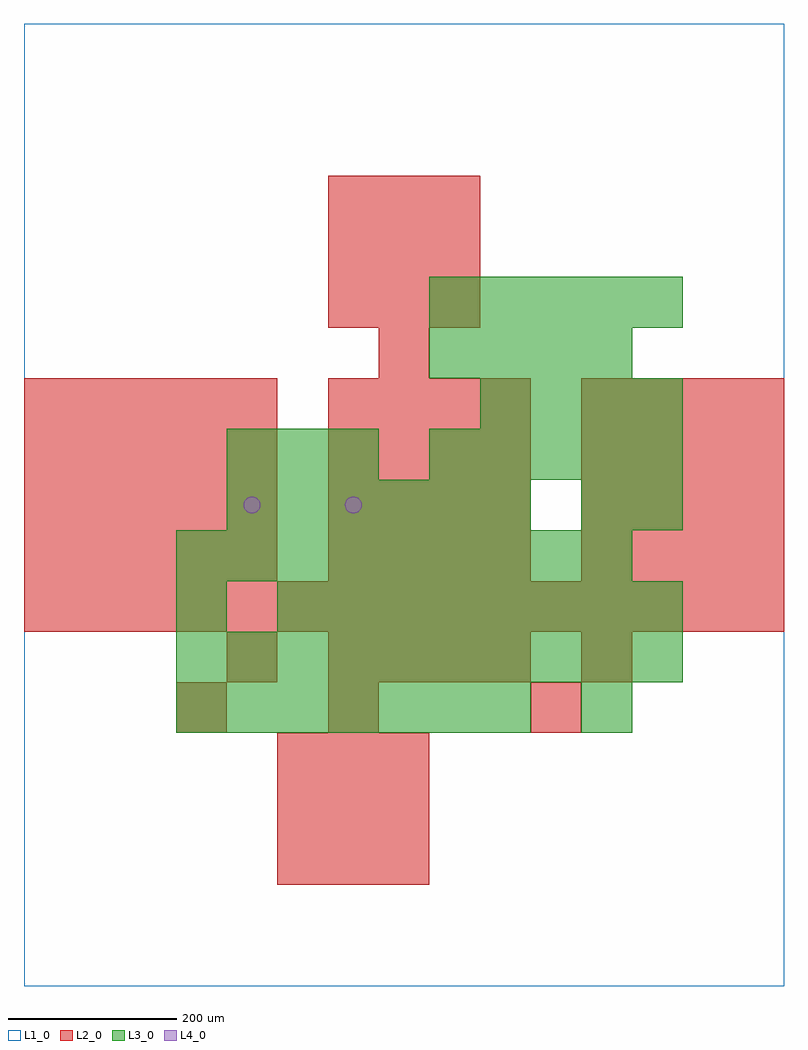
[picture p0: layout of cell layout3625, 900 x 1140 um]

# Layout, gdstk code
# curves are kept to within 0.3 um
import gdstk
lib = gdstk.Library(unit=1e-6, precision=1e-09)
def R(c, l, rs):  # rectangles x0, y0, x1, y1
    for r in rs: c.add(gdstk.rectangle(r[:2], r[2:], *l))
def A(c, l, x, y, w, h, nx, ny, dx, dy):  # array of equal rectangles
    R(c, l, [(x+i*dx, y+j*dy, x+i*dx+w, y+j*dy+h) for i in range(nx) for j in range(ny)])
def P(c, l, *ps):  # polygons
    for p in ps: c.add(gdstk.Polygon(p, *l))
L1_0 = (1, 0)
L2_0 = (2, 0)
L3_0 = (3, 0)
L4_0 = (4, 0)

layout3625 = lib.new_cell('layout3625')
R(layout3625, L1_0, [(0,0,900,1140)])
A(layout3625, L2_0, 300, 120, 60, 60, 3, 3, 60, 60)
A(layout3625, L2_0, 360, 360, 60, 60, 4, 2, 60, 120)
A(layout3625, L2_0, 0, 420, 60, 60, 15, 1, 60, 0)
A(layout3625, L2_0, 0, 480, 60, 60, 5, 4, 60, 60)
A(layout3625, L2_0, 660, 480, 60, 60, 4, 4, 60, 60)
A(layout3625, L2_0, 360, 540, 60, 60, 4, 3, 60, 60)
A(layout3625, L2_0, 360, 780, 60, 60, 3, 3, 60, 60)
R(layout3625, L2_0, [(180,300,240,360), (360,300,420,360), (600,300,660,360), (240,360,300,420), (660,360,720,420), (420,720,480,780)])
A(layout3625, L3_0, 180, 300, 60, 60, 7, 1, 60, 0)
A(layout3625, L3_0, 180, 360, 60, 60, 10, 1, 60, 0)
A(layout3625, L3_0, 300, 420, 60, 60, 8, 1, 60, 0)
A(layout3625, L3_0, 180, 480, 60, 60, 9, 1, 60, 0)
A(layout3625, L3_0, 240, 540, 60, 60, 6, 1, 60, 0)
A(layout3625, L3_0, 240, 600, 60, 60, 3, 1, 60, 0)
A(layout3625, L3_0, 480, 600, 60, 60, 5, 2, 60, 180)
A(layout3625, L3_0, 540, 660, 60, 60, 4, 1, 60, 0)
A(layout3625, L3_0, 480, 720, 60, 60, 4, 1, 60, 0)
R(layout3625, L3_0, [(660,300,720,360), (180,420,240,480), (660,540,720,600), (720,540,780,600)])
P(layout3625, L4_0, [(280,570),(279.239,573.827),(277.071,577.071),(273.827,579.239),(270,580),(266.173,579.239),(262.929,577.071),(260.761,573.827),(260,570),(260.761,566.173),(262.929,562.929),(266.173,560.761),(270,560),(273.827,560.761),(277.071,562.929),(279.239,566.173)],
  [(400,570),(399.239,573.827),(397.071,577.071),(393.827,579.239),(390,580),(386.173,579.239),(382.929,577.071),(380.761,573.827),(380,570),(380.761,566.173),(382.929,562.929),(386.173,560.761),(390,560),(393.827,560.761),(397.071,562.929),(399.239,566.173)])

lib.write_gds('layout3625.gds')
